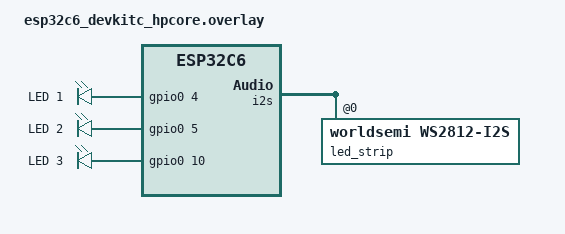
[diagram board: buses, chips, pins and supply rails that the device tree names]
/*
 * Board overlay for ESP32-C6-DevKitC HP Core
 *
 * GPIO8 onboard LED is a WS2812B RGB LED driven via I2S — NOT a plain GPIO.
 * It is configured here using the worldsemi,ws2812-i2s driver.
 *
 * led-strip → WS2812B on GPIO8  (onboard RGB LED, I2S driven)
 * led1      → GPIO4  (external plain LED, active-high)
 * led2      → GPIO5  (external plain LED, active-high)
 * led3      → GPIO10 (external plain LED, active-high)
 */

#include <zephyr/dt-bindings/led/led.h>

/ {
	aliases {
		led-strip = &led_strip;
		led1 = &led1;
		led2 = &led2;
		led3 = &led3;
	};

	leds {
		compatible = "gpio-leds";

		led1: led_1 {
			gpios = <&gpio0 4 GPIO_ACTIVE_HIGH>;
			label = "LED 1";
		};

		led2: led_2 {
			gpios = <&gpio0 5 GPIO_ACTIVE_HIGH>;
			label = "LED 2";
		};

		led3: led_3 {
			gpios = <&gpio0 10 GPIO_ACTIVE_HIGH>;
			label = "LED 3";
		};
	};
};

/* Override I2S pinctrl: only GPIO8 as data output (WS2812 doesn't need CLK/WS) */
&i2s_default {
	group1 {
		pinmux = <I2S_O_SD_GPIO8>;
	};
};

/* WS2812B RGB LED on GPIO8, driven via I2S + DMA */
i2s_led: &i2s {
	status = "okay";

	dmas = <&dma 3>;
	dma-names = "tx";

	led_strip: ws2812@0 {
		compatible = "worldsemi,ws2812-i2s";

		reg = <0>;
		chain-length = <1>;
		color-mapping = <LED_COLOR_ID_GREEN
				 LED_COLOR_ID_RED
				 LED_COLOR_ID_BLUE>;
		reset-delay = <500>;
	};
};

&dma {
	status = "okay";
};
